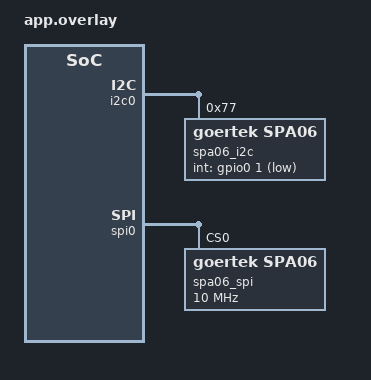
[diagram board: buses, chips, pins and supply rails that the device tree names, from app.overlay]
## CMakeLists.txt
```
# SPDX-FileCopyrightText: Copyright The Zephyr Project Contributors
# SPDX-License-Identifier: Apache-2.0

cmake_minimum_required(VERSION 3.28.0)
find_package(Zephyr REQUIRED HINTS $ENV{ZEPHYR_BASE})
project(spa06)

target_sources(app PRIVATE src/main.c)
```

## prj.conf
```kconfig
# SPDX-FileCopyrightText: Copyright The Zephyr Project Contributors
# SPDX-License-Identifier: Apache-2.0

CONFIG_ZTEST=y
CONFIG_EMUL=y
CONFIG_GPIO=y
CONFIG_SENSOR=y
CONFIG_SENSOR_ASYNC_API=y
```

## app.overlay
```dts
/*
 * SPDX-FileCopyrightText: Copyright The Zephyr Project Contributors
 *
 * SPDX-License-Identifier: Apache-2.0
 */

#include <zephyr/dt-bindings/gpio/gpio.h>

&i2c0 {
	spa06_i2c: spa06@77 {
		compatible = "goertek,spa06";
		reg = <0x77>;
		int-gpios = <&gpio0 1 GPIO_ACTIVE_LOW>;
		/* Initialized by the test, after it sets the coefficients */
		zephyr,deferred-init;
	};
};

&spi0 {
	spa06_spi: spa06@0 {
		compatible = "goertek,spa06";
		reg = <0>;
		spi-max-frequency = <10000000>;
		zephyr,deferred-init;
	};
};
```

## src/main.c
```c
/*
 * SPDX-FileCopyrightText: Copyright The Zephyr Project Contributors
 *
 * SPDX-License-Identifier: Apache-2.0
 */

#include <math.h>

#include <zephyr/device.h>
#include <zephyr/devicetree.h>
#include <zephyr/drivers/emul.h>
#include <zephyr/drivers/gpio.h>
#include <zephyr/drivers/gpio/gpio_emul.h>
#include <zephyr/drivers/sensor.h>
#include <zephyr/pm/device.h>
#include <zephyr/rtio/rtio.h>
#include <zephyr/ztest.h>

#include "spa06_emul.h"

#define SPA06_I2C DT_NODELABEL(spa06_i2c)
#define SPA06_SPI DT_NODELABEL(spa06_spi)

/* Scale factors for 1x, 16x and 64x oversampling */
#define KX1  524288.0
#define KX16 253952.0
#define KX64 1040384.0

#define PRESS_TOL_KPA 0.0001
#define TEMP_TOL_C    0.0001

static const struct spa06_coef test_coef = {
	.c0 = 100,
	.c1 = -125,
	.c00 = 80000,
	.c10 = -54630,
	.c01 = -2108,
	.c11 = 1206,
	.c20 = -11683,
	.c21 = 252,
	.c30 = -1556,
	.c31 = -40,
	.c40 = 85,
};

/* About 99 kPa and 25 degrees Celsius with 16x pressure and 1x temperature oversampling */
#define RAW_PRS -88883
#define RAW_TMP 104858

static const struct gpio_dt_spec int_gpio = GPIO_DT_SPEC_GET(SPA06_I2C, int_gpios);

static struct sensor_trigger drdy_trig = {
	.type = SENSOR_TRIG_DATA_READY,
	.chan = SENSOR_CHAN_ALL,
};

SENSOR_DT_READ_IODEV(spa06_read_iodev, SPA06_I2C, {SENSOR_CHAN_PRESS, 0},
		     {SENSOR_CHAN_AMBIENT_TEMP, 0});
RTIO_DEFINE(spa06_read_rtio, 1, 1);

SENSOR_DT_STREAM_IODEV(spa06_drdy_iodev, SPA06_I2C,
		       {SENSOR_TRIG_DATA_READY, SENSOR_STREAM_DATA_INCLUDE});
SENSOR_DT_STREAM_IODEV(spa06_fifo_iodev, SPA06_I2C,
		       {SENSOR_TRIG_FIFO_FULL, SENSOR_STREAM_DATA_INCLUDE});
RTIO_DEFINE_WITH_MEMPOOL(spa06_stream_rtio, 4, 4, 32, 64, 4);

struct spa06_fixture {
	const struct device *i2c_dev;
	const struct emul *i2c_emul;
	const struct device *spi_dev;
	const struct emul *spi_emul;
	/* Running stream, stopped after the test if it failed before doing so */
	struct rtio_sqe *stream;
};

static double temp_c(int32_t raw_tmp, double kt)
{
	return (test_coef.c0 * 0.5) + (test_coef.c1 * (raw_tmp / kt));
}

static double press_kpa(int32_t raw_prs, double kp, int32_t raw_tmp, double kt)
{
	const struct spa06_coef *c = &test_coef;
	double p = raw_prs / kp;
	double t = raw_tmp / kt;
	double pa = c->c00 + (p * (c->c10 + (p * (c->c20 + (p * (c->c30 + (p * c->c40))))))) +
		    (t * (c->c01 + (p * (c->c11 + (p * (c->c21 + (p * c->c31)))))));

	return pa / 1000.0;
}

static double q31_to_double(int32_t value, int8_t shift)
{
	return ldexp((double)value, shift - 31);
}

static void check_values(const struct device *dev, double exp_press, double exp_temp)
{
	struct sensor_value val;

	zassert_ok(sensor_channel_get(dev, SENSOR_CHAN_PRESS, &val));
	zassert_within(sensor_value_to_double(&val), exp_press, PRESS_TOL_KPA,
		       "pressure %f kPa, expected %f", sensor_value_to_double(&val), exp_press);

	zassert_ok(sensor_channel_get(dev, SENSOR_CHAN_AMBIENT_TEMP, &val));
	zassert_within(sensor_value_to_double(&val), exp_temp, TEMP_TOL_C,
		       "temperature %f C, expected %f", sensor_value_to_double(&val), exp_temp);
}

static void set_odr(const struct device *dev, enum sensor_channel chan, int32_t val1, int32_t val2)
{
	struct sensor_value odr = {.val1 = val1, .val2 = val2};

	zassert_ok(sensor_attr_set(dev, chan, SENSOR_ATTR_SAMPLING_FREQUENCY, &odr));
}

static void set_osr(const struct device *dev, enum sensor_channel chan, int32_t osr)
{
	struct sensor_value val = {.val1 = osr};

	zassert_ok(sensor_attr_set(dev, chan, SENSOR_ATTR_OVERSAMPLING, &val));
}

static void raise_interrupt(const struct emul *target, uint8_t int_sts)
{
	spa06_emul_set_int_status(target, int_sts);

	/* The interrupt is active low */
	zassert_ok(gpio_emul_input_set(int_gpio.port, int_gpio.pin, 0));
	k_msleep(20);
	zassert_ok(gpio_emul_input_set(int_gpio.port, int_gpio.pin, 1));
}

static struct rtio_cqe *wait_cqe(struct rtio *ctx)
{
	for (int i = 0; i < 100; i++) {
		struct rtio_cqe *cqe = rtio_cqe_consume(ctx);

		if (cqe != NULL) {
			return cqe;
		}
		k_msleep(10);
	}

	return NULL;
}

static void *spa06_setup(void)
{
	static struct spa06_fixture fixture = {
		.i2c_dev = DEVICE_DT_GET(SPA06_I2C),
		.i2c_emul = EMUL_DT_GET(SPA06_I2C),
		.spi_dev = DEVICE_DT_GET(SPA06_SPI),
		.spi_emul = EMUL_DT_GET(SPA06_SPI),
	};

	spa06_emul_set_coef(fixture.i2c_emul, &test_coef);
	spa06_emul_set_coef(fixture.spi_emul, &test_coef);

	zassert_ok(device_init(fixture.i2c_dev));
	zassert_ok(device_init(fixture.spi_dev));

	/* The driver configured the interrupt pin, which idles high */
	zassert_ok(gpio_emul_input_set(int_gpio.port, int_gpio.pin, 1));

	return &fixture;
}

/* Bring a device back to the active state, after a test left it suspended or off */
static void resume_device(const struct device *dev)
{
	enum pm_device_state state;

	if (!IS_ENABLED(CONFIG_PM_DEVICE)) {
		return;
	}

	zassert_ok(pm_device_state_get(dev, &state));

	if (state == PM_DEVICE_STATE_OFF) {
		zassert_ok(pm_device_action_run(dev, PM_DEVICE_ACTION_TURN_ON));
		state = PM_DEVICE_STATE_SUSPENDED;
	}

	if (state == PM_DEVICE_STATE_SUSPENDED) {
		zassert_ok(pm_device_action_run(dev, PM_DEVICE_ACTION_RESUME));
	}
}

static void spa06_before(void *f)
{
	struct spa06_fixture *fixture = f;
	const struct device *devs[] = {fixture->i2c_dev, fixture->spi_dev};

	ARRAY_FOR_EACH(devs, i) {
		resume_device(devs[i]);
	}

	(void)sensor_trigger_set(fixture->i2c_dev, &drdy_trig, NULL);

	ARRAY_FOR_EACH(devs, i) {
		set_odr(devs[i], SENSOR_CHAN_PRESS, 0, 0);
		set_odr(devs[i], SENSOR_CHAN_AMBIENT_TEMP, 1, 0);
		set_osr(devs[i], SENSOR_CHAN_PRESS, 16);
		set_osr(devs[i], SENSOR_CHAN_AMBIENT_TEMP, 1);
	}

	spa06_emul_set_raw(fixture->i2c_emul, RAW_PRS, RAW_TMP);
	spa06_emul_set_raw(fixture->spi_emul, RAW_PRS, RAW_TMP);
}

static void stop_stream(struct spa06_fixture *fixture);

static void spa06_after(void *f)
{
	struct spa06_fixture *fixture = f;

	if (fixture->stream != NULL) {
		stop_stream(fixture);
	}
}

ZTEST_SUITE(spa06, NULL, spa06_setup, spa06_before, spa06_after, NULL);

ZTEST_F(spa06, test_init_configuration)
{
	zassert_true(device_is_ready(fixture->i2c_dev));
	zassert_true(device_is_ready(fixture->spi_dev));

	/* 16x pressure oversampling needs the result shift; active-low interrupt */
	zassert_equal(spa06_emul_get_reg(fixture->i2c_emul, SPA06_REG_PRS_CFG), 0x04);
	zassert_equal(spa06_emul_get_reg(fixture->i2c_emul, SPA06_REG_TMP_CFG), 0x00);
	zassert_equal(spa06_emul_get_reg(fixture->i2c_emul, SPA06_REG_CFG_REG),
		      SPA06_CFG_REG_P_SHIFT);
	zassert_equal(spa06_emul_get_reg(fixture->i2c_emul, SPA06_REG_MEAS_CFG) & 0x07, 0);
}

ZTEST_F(spa06, test_fetch_i2c)
{
	zassert_ok(sensor_sample_fetch(fixture->i2c_dev));
	check_values(fixture->i2c_dev, press_kpa(RAW_PRS, KX16, RAW_TMP, KX1),
		     temp_c(RAW_TMP, KX1));
}

ZTEST_F(spa06, test_fetch_spi)
{
	zassert_ok(sensor_sample_fetch(fixture->spi_dev));
	check_values(fixture->spi_dev, press_kpa(RAW_PRS, KX16, RAW_TMP, KX1),
		     temp_c(RAW_TMP, KX1));
}

ZTEST_F(spa06, test_fetch_temperature_only)
{
	struct sensor_value val;

	zassert_ok(sensor_sample_fetch_chan(fixture->i2c_dev, SENSOR_CHAN_AMBIENT_TEMP));
	zassert_ok(sensor_channel_get(fixture->i2c_dev, SENSOR_CHAN_AMBIENT_TEMP, &val));
	zassert_within(sensor_value_to_double(&val), temp_c(RAW_TMP, KX1), TEMP_TOL_C);

	zassert_equal(sensor_sample_fetch_chan(fixture->i2c_dev, SENSOR_CHAN_ACCEL_XYZ), -ENOTSUP);
}

ZTEST_F(spa06, test_oversampling)
{
	struct sensor_value val = {.val1 = 3};
	const int32_t raw_prs = -363946;

	zassert_equal(sensor_attr_set(fixture->i2c_dev, SENSOR_CHAN_PRESS, SENSOR_ATTR_OVERSAMPLING,
				      &val),
		      -EINVAL);
	val.val1 = 256;
	zassert_equal(sensor_attr_set(fixture->i2c_dev, SENSOR_CHAN_PRESS, SENSOR_ATTR_OVERSAMPLING,
				      &val),
		      -EINVAL);

	set_osr(fixture->i2c_dev, SENSOR_CHAN_PRESS, 64);
	set_osr(fixture->i2c_dev, SENSOR_CHAN_AMBIENT_TEMP, 2);
	zassert_equal(spa06_emul_get_reg(fixture->i2c_emul, SPA06_REG_PRS_CFG), 0x06);
	zassert_equal(spa06_emul_get_reg(fixture->i2c_emul, SPA06_REG_TMP_CFG), 0x01);
	zassert_equal(spa06_emul_get_reg(fixture->i2c_emul, SPA06_REG_CFG_REG),
		      SPA06_CFG_REG_P_SHIFT);

	zassert_ok(sensor_attr_get(fixture->i2c_dev, SENSOR_CHAN_PRESS, SENSOR_ATTR_OVERSAMPLING,
				   &val));
	zassert_equal(val.val1, 64);

	/* The result shift follows the oversampling */
	set_osr(fixture->i2c_dev, SENSOR_CHAN_AMBIENT_TEMP, 32);
	zassert_equal(spa06_emul_get_reg(fixture->i2c_emul, SPA06_REG_CFG_REG),
		      SPA06_CFG_REG_P_SHIFT | SPA06_CFG_REG_T_SHIFT);
	set_osr(fixture->i2c_dev, SENSOR_CHAN_AMBIENT_TEMP, 1);

	spa06_emul_set_raw(fixture->i2c_emul, raw_prs, RAW_TMP);
	zassert_ok(sensor_sample_fetch(fixture->i2c_dev));
	check_values(fixture->i2c_dev, press_kpa(raw_prs, KX64, RAW_TMP, KX1),
		     temp_c(RAW_TMP, KX1));
}

ZTEST_F(spa06, test_sampling_frequency)
{
	struct sensor_value val;

	set_odr(fixture->i2c_dev, SENSOR_CHAN_PRESS, 16, 0);
	zassert_equal(spa06_emul_get_reg(fixture->i2c_emul, SPA06_REG_PRS_CFG), 0x44);
	zassert_equal(spa06_emul_get_reg(fixture->i2c_emul, SPA06_REG_MEAS_CFG) & 0x07,
		      SPA06_MEAS_CTRL_CONTINUOUS);

	/* Requests round up to the next supported rate */
	set_odr(fixture->i2c_dev, SENSOR_CHAN_PRESS, 20, 0);
	zassert_ok(sensor_attr_get(fixture->i2c_dev, SENSOR_CHAN_PRESS,
				   SENSOR_ATTR_SAMPLING_FREQUENCY, &val));
	zassert_equal(val.val1, 25);
	zassert_equal(val.val2, 0);

	/* 1.5625 Hz exists for pressure only */
	set_odr(fixture->i2c_dev, SENSOR_CHAN_ALL, 1, 500000);
	zassert_equal(spa06_emul_get_reg(fixture->i2c_emul, SPA06_REG_PRS_CFG) >> 4, 0x8);
	zassert_equal(spa06_emul_get_reg(fixture->i2c_emul, SPA06_REG_TMP_CFG) >> 4, 0x1);
	zassert_ok(sensor_attr_get(fixture->i2c_dev, SENSOR_CHAN_PRESS,
				   SENSOR_ATTR_SAMPLING_FREQUENCY, &val));
	zassert_equal(val.val1, 1);
	zassert_equal(val.val2, 562500);

	val = (struct sensor_value){.val1 = 250};
	zassert_equal(sensor_attr_set(fixture->i2c_dev, SENSOR_CHAN_PRESS,
				      SENSOR_ATTR_SAMPLING_FREQUENCY, &val),
		      -EINVAL);

	/* 128x pressure oversampling takes 206.8 ms, too long for 16 Hz */
	set_odr(fixture->i2c_dev, SENSOR_CHAN_PRESS, 16, 0);
	val = (struct sensor_value){.val1 = 128};
	zassert_equal(sensor_attr_set(fixture->i2c_dev, SENSOR_CHAN_PRESS, SENSOR_ATTR_OVERSAMPLING,
				      &val),
		      -EINVAL);

	set_odr(fixture->i2c_dev, SENSOR_CHAN_PRESS, 0, 0);
	zassert_equal(spa06_emul_get_reg(fixture->i2c_emul, SPA06_REG_MEAS_CFG) & 0x07,
		      SPA06_MEAS_CTRL_IDLE);
	zassert_ok(sensor_attr_get(fixture->i2c_dev, SENSOR_CHAN_PRESS,
				   SENSOR_ATTR_SAMPLING_FREQUENCY, &val));
	zassert_equal(val.val1, 0);
}

ZTEST_F(spa06, test_continuous_fetch)
{
	const int32_t raw_prs = -80000;
	const int32_t raw_tmp = 110000;

	set_odr(fixture->i2c_dev, SENSOR_CHAN_PRESS, 8, 0);
	spa06_emul_set_raw(fixture->i2c_emul, raw_prs, raw_tmp);

	zassert_ok(sensor_sample_fetch(fixture->i2c_dev));
	check_values(fixture->i2c_dev, press_kpa(raw_prs, KX16, raw_tmp, KX1),
		     temp_c(raw_tmp, KX1));
}

static atomic_t drdy_count;

static void drdy_handler(const struct device *dev, const struct sensor_trigger *trig)
{
	ARG_UNUSED(dev);
	ARG_UNUSED(trig);

	atomic_inc(&drdy_count);
}

ZTEST_F(spa06, test_trigger_needs_continuous_mode)
{
	zassert_equal(sensor_trigger_set(fixture->i2c_dev, &drdy_trig, drdy_handler), -EINVAL);
}

ZTEST_F(spa06, test_trigger_data_ready)
{
	struct sensor_value zero = {0};

	set_odr(fixture->i2c_dev, SENSOR_CHAN_PRESS, 8, 0);
	atomic_set(&drdy_count, 0);

	zassert_ok(sensor_trigger_set(fixture->i2c_dev, &drdy_trig, drdy_handler));
	zassert_equal(spa06_emul_get_reg(fixture->i2c_emul, SPA06_REG_CFG_REG),
		      SPA06_CFG_REG_INT_PRS | SPA06_CFG_REG_P_SHIFT);

	/* On-demand measurements would stop the interrupts */
	zassert_equal(sensor_attr_set(fixture->i2c_dev, SENSOR_CHAN_PRESS,
				      SENSOR_ATTR_SAMPLING_FREQUENCY, &zero),
		      -EBUSY);

	raise_interrupt(fixture->i2c_emul, SPA06_INT_STS_PRS);
	zassert_equal(atomic_get(&drdy_count), 1);
	zassert_equal(spa06_emul_get_reg(fixture->i2c_emul, SPA06_REG_INT_STS), 0);

	/* An interrupt for another source does not call the handler */
	raise_interrupt(fixture->i2c_emul, 0);
	zassert_equal(atomic_get(&drdy_count), 1);

	zassert_ok(sensor_trigger_set(fixture->i2c_dev, &drdy_trig, NULL));
	zassert_equal(spa06_emul_get_reg(fixture->i2c_emul, SPA06_REG_CFG_REG),
		      SPA06_CFG_REG_P_SHIFT);
}

ZTEST_F(spa06, test_trigger_not_on_spi)
{
	set_odr(fixture->spi_dev, SENSOR_CHAN_PRESS, 8, 0);
	zassert_equal(sensor_trigger_set(fixture->spi_dev, &drdy_trig, drdy_handler), -ENOTSUP);
}

ZTEST_F(spa06, test_read_decode)
{
	const struct sensor_decoder_api *decoder;
	struct sensor_q31_data data;
	uint8_t buf[64];
	uint32_t fit = 0;
	uint16_t count;

	zassert_ok(sensor_read(&spa06_read_iodev, &spa06_read_rtio, buf, sizeof(buf)));
	zassert_ok(sensor_get_decoder(fixture->i2c_dev, &decoder));

	zassert_ok(decoder->get_frame_count(buf, (struct sensor_chan_spec){SENSOR_CHAN_PRESS, 0},
					    &count));
	zassert_equal(count, 1);
	zassert_equal(decoder->decode(buf, (struct sensor_chan_spec){SENSOR_CHAN_PRESS, 0}, &fit, 1,
				      &data),
		      1);
	zassert_within(q31_to_double(data.readings[0].pressure, data.shift),
		       press_kpa(RAW_PRS, KX16, RAW_TMP, KX1), PRESS_TOL_KPA);

	fit = 0;
	zassert_equal(decoder->decode(buf, (struct sensor_chan_spec){SENSOR_CHAN_AMBIENT_TEMP, 0},
				      &fit, 1, &data),
		      1);
	zassert_within(q31_to_double(data.readings[0].temperature, data.shift),
		       temp_c(RAW_TMP, KX1), TEMP_TOL_C);

	zassert_equal(decoder->decode(buf, (struct sensor_chan_spec){SENSOR_CHAN_AMBIENT_TEMP, 0},
				      &fit, 1, &data),
		      0);
	zassert_equal(decoder->get_frame_count(buf, (struct sensor_chan_spec){SENSOR_CHAN_LIGHT, 0},
					       &count),
		      -ENOTSUP);
}

static void stop_stream(struct spa06_fixture *fixture)
{
	struct rtio_cqe *cqe;

	zassert_ok(rtio_sqe_cancel(fixture->stream));
	fixture->stream = NULL;

	/* The driver completes the canceled request on the next interrupt */
	raise_interrupt(fixture->i2c_emul, 0);
	while ((cqe = rtio_cqe_consume(&spa06_stream_rtio)) != NULL) {
		rtio_cqe_release(&spa06_stream_rtio, cqe);
	}
}

ZTEST_F(spa06, test_stream_data_ready)
{
	const struct sensor_decoder_api *decoder;
	struct sensor_q31_data data;
	struct rtio_sqe *handle;
	struct rtio_cqe *cqe;
	uint32_t buf_len;
	uint32_t fit = 0;
	uint8_t *buf;

	zassert_ok(sensor_get_decoder(fixture->i2c_dev, &decoder));

	/* Streaming needs continuous measurements */
	zassert_ok(sensor_stream(&spa06_drdy_iodev, &spa06_stream_rtio, NULL, &handle));
	cqe = wait_cqe(&spa06_stream_rtio);
	zassert_not_null(cqe);
	zassert_equal(cqe->result, -EINVAL);
	rtio_cqe_release(&spa06_stream_rtio, cqe);

	set_odr(fixture->i2c_dev, SENSOR_CHAN_PRESS, 8, 0);
	zassert_ok(sensor_stream(&spa06_drdy_iodev, &spa06_stream_rtio, NULL, &fixture->stream));
	k_msleep(10);
	zassert_equal(spa06_emul_get_reg(fixture->i2c_emul, SPA06_REG_CFG_REG),
		      SPA06_CFG_REG_INT_PRS | SPA06_CFG_REG_P_SHIFT);
	zassert_equal(sensor_trigger_set(fixture->i2c_dev, &drdy_trig, drdy_handler), -EBUSY);

	raise_interrupt(fixture->i2c_emul, SPA06_INT_STS_PRS);
	cqe = wait_cqe(&spa06_stream_rtio);
	zassert_not_null(cqe);
	zassert_ok(cqe->result);
	zassert_ok(rtio_cqe_get_mempool_buffer(&spa06_stream_rtio, cqe, &buf, &buf_len));
	rtio_cqe_release(&spa06_stream_rtio, cqe);

	zassert_true(decoder->has_trigger(buf, SENSOR_TRIG_DATA_READY));
	zassert_false(decoder->has_trigger(buf, SENSOR_TRIG_FIFO_FULL));
	zassert_equal(decoder->decode(buf, (struct sensor_chan_spec){SENSOR_CHAN_PRESS, 0}, &fit, 1,
				      &data),
		      1);
	zassert_within(q31_to_double(data.readings[0].pressure, data.shift),
		       press_kpa(RAW_PRS, KX16, RAW_TMP, KX1), PRESS_TOL_KPA);
	rtio_release_buffer(&spa06_stream_rtio, buf, buf_len);

	stop_stream(fixture);
	zassert_equal(spa06_emul_get_reg(fixture->i2c_emul, SPA06_REG_CFG_REG),
		      SPA06_CFG_REG_P_SHIFT);
}

ZTEST_F(spa06, test_stream_fifo)
{
	const int32_t raw_prs[] = {-88001, -88501, -89001};
	const int32_t raw_tmp[] = {104000, 106000};
	const struct sensor_decoder_api *decoder;
	struct sensor_q31_data data;
	uint64_t prs_ts[3];
	double prs[3];
	double tmp[2];
	struct rtio_cqe *cqe;
	uint32_t buf_len;
	uint32_t fit = 0;
	uint16_t count;
	uint8_t *buf;

	zassert_ok(sensor_get_decoder(fixture->i2c_dev, &decoder));

	set_odr(fixture->i2c_dev, SENSOR_CHAN_ALL, 8, 0);
	zassert_ok(sensor_stream(&spa06_fifo_iodev, &spa06_stream_rtio, NULL, &fixture->stream));
	k_msleep(10);
	zassert_equal(spa06_emul_get_reg(fixture->i2c_emul, SPA06_REG_CFG_REG),
		      SPA06_CFG_REG_FIFO_EN | SPA06_CFG_REG_INT_FIFO | SPA06_CFG_REG_P_SHIFT);

	/* The result registers return FIFO entries, so fetching is refused */
	zassert_equal(sensor_sample_fetch(fixture->i2c_dev), -EBUSY);

	/* Pressure entries have bit 0 set, temperature entries have it clear */
	zassert_ok(spa06_emul_fifo_push(fixture->i2c_emul, (uint32_t)raw_prs[0] & 0xFFFFFF));
	zassert_ok(spa06_emul_fifo_push(fixture->i2c_emul, (uint32_t)raw_tmp[0] & 0xFFFFFF));
	zassert_ok(spa06_emul_fifo_push(fixture->i2c_emul, (uint32_t)raw_prs[1] & 0xFFFFFF));
	zassert_ok(spa06_emul_fifo_push(fixture->i2c_emul, (uint32_t)raw_tmp[1] & 0xFFFFFF));
	zassert_ok(spa06_emul_fifo_push(fixture->i2c_emul, (uint32_t)raw_prs[2] & 0xFFFFFF));

	raise_interrupt(fixture->i2c_emul, SPA06_INT_STS_FIFO_FULL);
	cqe = wait_cqe(&spa06_stream_rtio);
	zassert_not_null(cqe);
	zassert_ok(cqe->result);
	zassert_ok(rtio_cqe_get_mempool_buffer(&spa06_stream_rtio, cqe, &buf, &buf_len));
	rtio_cqe_release(&spa06_stream_rtio, cqe);

	zassert_true(decoder->has_trigger(buf, SENSOR_TRIG_FIFO_FULL));
	zassert_ok(decoder->get_frame_count(buf, (struct sensor_chan_spec){SENSOR_CHAN_PRESS, 0},
					    &count));
	zassert_equal(count, 3);
	zassert_ok(decoder->get_frame_count(
		buf, (struct sensor_chan_spec){SENSOR_CHAN_AMBIENT_TEMP, 0}, &count));
	zassert_equal(count, 2);

	ARRAY_FOR_EACH(prs, i) {
		zassert_equal(decoder->decode(buf, (struct sensor_chan_spec){SENSOR_CHAN_PRESS, 0},
					      &fit, 1, &data),
			      1);
		prs[i] = q31_to_double(data.readings[0].pressure, data.shift);
		prs_ts[i] = data.header.base_timestamp_ns + data.readings[0].timestamp_delta;
	}
	zassert_equal(decoder->decode(buf, (struct sensor_chan_spec){SENSOR_CHAN_PRESS, 0}, &fit, 1,
				      &data),
		      0);

	fit = 0;
	ARRAY_FOR_EACH(tmp, i) {
		zassert_equal(
			decoder->decode(buf, (struct sensor_chan_spec){SENSOR_CHAN_AMBIENT_TEMP, 0},
					&fit, 1, &data),
			1);
		tmp[i] = q31_to_double(data.readings[0].temperature, data.shift);
	}
	rtio_release_buffer(&spa06_stream_rtio, buf, buf_len);

	/* Samples are one pressure period (8 Hz) apart */
	zassert_equal(prs_ts[1] - prs_ts[0], 125000000);
	zassert_equal(prs_ts[2] - prs_ts[1], 125000000);

	/* Each pressure entry is compensated with the temperature before it, or the first one */
	zassert_within(prs[0], press_kpa(raw_prs[0], KX16, raw_tmp[0], KX1), PRESS_TOL_KPA);
	zassert_within(prs[1], press_kpa(raw_prs[1], KX16, raw_tmp[0], KX1), PRESS_TOL_KPA);
	zassert_within(prs[2], press_kpa(raw_prs[2], KX16, raw_tmp[1], KX1), PRESS_TOL_KPA);
	zassert_within(tmp[0], temp_c(raw_tmp[0], KX1), TEMP_TOL_C);
	zassert_within(tmp[1], temp_c(raw_tmp[1], KX1), TEMP_TOL_C);

	stop_stream(fixture);
	zassert_equal(spa06_emul_get_reg(fixture->i2c_emul, SPA06_REG_CFG_REG),
		      SPA06_CFG_REG_P_SHIFT);

	/* With the FIFO disabled, fetching returns the latest results again */
	spa06_emul_set_raw(fixture->i2c_emul, RAW_PRS, RAW_TMP);
	zassert_ok(sensor_sample_fetch(fixture->i2c_dev));
	check_values(fixture->i2c_dev, press_kpa(RAW_PRS, KX16, RAW_TMP, KX1),
		     temp_c(RAW_TMP, KX1));
}

ZTEST_F(spa06, test_pm_suspend_resume)
{
	struct sensor_value val;

	Z_TEST_SKIP_IFNDEF(CONFIG_PM_DEVICE);

	set_odr(fixture->i2c_dev, SENSOR_CHAN_PRESS, 8, 0);
	atomic_set(&drdy_count, 0);
	zassert_ok(sensor_trigger_set(fixture->i2c_dev, &drdy_trig, drdy_handler));

	zassert_ok(pm_device_action_run(fixture->i2c_dev, PM_DEVICE_ACTION_SUSPEND));
	zassert_equal(spa06_emul_get_reg(fixture->i2c_emul, SPA06_REG_MEAS_CFG) & 0x07,
		      SPA06_MEAS_CTRL_IDLE);
	zassert_equal(sensor_sample_fetch(fixture->i2c_dev), -EBUSY);

	/* The interrupt is masked while suspended */
	raise_interrupt(fixture->i2c_emul, SPA06_INT_STS_PRS);
	zassert_equal(atomic_get(&drdy_count), 0);

	/* Settings changed while suspended are applied on resume */
	set_odr(fixture->i2c_dev, SENSOR_CHAN_PRESS, 16, 0);
	zassert_equal(spa06_emul_get_reg(fixture->i2c_emul, SPA06_REG_PRS_CFG), 0x34);
	zassert_ok(sensor_attr_get(fixture->i2c_dev, SENSOR_CHAN_PRESS,
				   SENSOR_ATTR_SAMPLING_FREQUENCY, &val));
	zassert_equal(val.val1, 16);

	zassert_ok(pm_device_action_run(fixture->i2c_dev, PM_DEVICE_ACTION_RESUME));
	zassert_equal(spa06_emul_get_reg(fixture->i2c_emul, SPA06_REG_PRS_CFG), 0x44);
	zassert_equal(spa06_emul_get_reg(fixture->i2c_emul, SPA06_REG_MEAS_CFG) & 0x07,
		      SPA06_MEAS_CTRL_CONTINUOUS);
	zassert_equal(spa06_emul_get_reg(fixture->i2c_emul, SPA06_REG_CFG_REG),
		      SPA06_CFG_REG_INT_PRS | SPA06_CFG_REG_P_SHIFT);

	raise_interrupt(fixture->i2c_emul, SPA06_INT_STS_PRS);
	zassert_equal(atomic_get(&drdy_count), 1);

	zassert_ok(sensor_trigger_set(fixture->i2c_dev, &drdy_trig, NULL));
	zassert_ok(sensor_sample_fetch(fixture->i2c_dev));
}

ZTEST_F(spa06, test_pm_power_cycle)
{
	const int32_t raw_prs = -363946;

	Z_TEST_SKIP_IFNDEF(CONFIG_PM_DEVICE);

	set_osr(fixture->i2c_dev, SENSOR_CHAN_PRESS, 64);
	zassert_ok(pm_device_action_run(fixture->i2c_dev, PM_DEVICE_ACTION_SUSPEND));
	zassert_ok(pm_device_action_run(fixture->i2c_dev, PM_DEVICE_ACTION_TURN_OFF));

	/* Turning on resets the sensor, resuming restores the configuration */
	zassert_ok(pm_device_action_run(fixture->i2c_dev, PM_DEVICE_ACTION_TURN_ON));
	zassert_equal(spa06_emul_get_reg(fixture->i2c_emul, SPA06_REG_PRS_CFG), 0x00);
	zassert_ok(pm_device_action_run(fixture->i2c_dev, PM_DEVICE_ACTION_RESUME));
	zassert_equal(spa06_emul_get_reg(fixture->i2c_emul, SPA06_REG_PRS_CFG), 0x06);

	spa06_emul_set_raw(fixture->i2c_emul, raw_prs, RAW_TMP);
	zassert_ok(sensor_sample_fetch(fixture->i2c_dev));
	check_values(fixture->i2c_dev, press_kpa(raw_prs, KX64, RAW_TMP, KX1),
		     temp_c(RAW_TMP, KX1));
}
```
